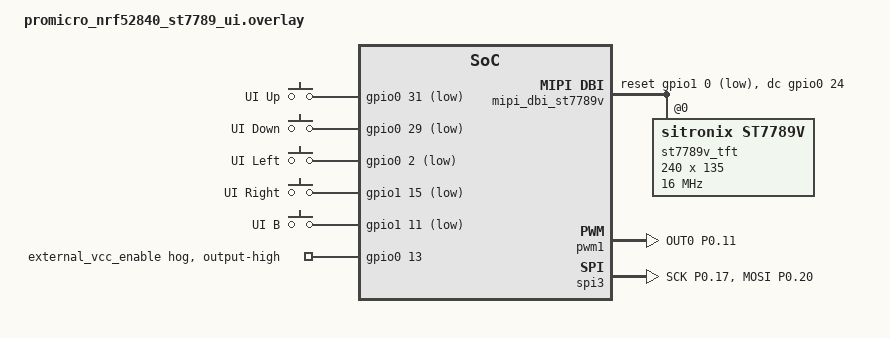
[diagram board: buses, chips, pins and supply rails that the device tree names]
// Copyright (c) 2026
// SPDX-License-Identifier: Apache-2.0

#include <zephyr/dt-bindings/gpio/gpio.h>
#include <zephyr/dt-bindings/input/input-event-codes.h>
#include <zephyr/dt-bindings/lvgl/lvgl.h>
#include <zephyr/dt-bindings/mipi_dbi/mipi_dbi.h>

&pinctrl {
	spi3_default: spi3_default {
		group1 {
			psels = <NRF_PSEL(SPIM_SCK, 0, 17)>,
				<NRF_PSEL(SPIM_MOSI, 0, 20)>;
		};
	};

	spi3_sleep: spi3_sleep {
		group1 {
			psels = <NRF_PSEL(SPIM_SCK, 0, 17)>,
				<NRF_PSEL(SPIM_MOSI, 0, 20)>;
			low-power-enable;
		};
	};

	pwm1_default: pwm1_default {
		group1 {
			psels = <NRF_PSEL(PWM_OUT0, 0, 11)>;
		};
	};

	pwm1_sleep: pwm1_sleep {
		group1 {
			psels = <NRF_PSEL(PWM_OUT0, 0, 11)>;
			low-power-enable;
		};
	};
};

/ {
	chosen {
		zephyr,display = &st7789v_tft;
	};

	aliases {
		ui-up = &button_up;
		ui-down = &button_down;
		ui-left = &button_left;
		ui-right = &button_right;
		ui-a = &button_a;
		ui-b = &button_b;
		ui-enter = &button_a;
		ui-back = &button_b;
		lcd-backlight = &lcd_backlight;
	};

	mipi_dbi_st7789v {
		compatible = "zephyr,mipi-dbi-spi";
		spi-dev = <&spi3>;
		dc-gpios = <&gpio0 24 GPIO_ACTIVE_HIGH>;
		reset-gpios = <&gpio1 0 GPIO_ACTIVE_LOW>;
		write-only;
		#address-cells = <1>;
		#size-cells = <0>;
		status = "okay";

		st7789v_tft: st7789v@0 {
			compatible = "sitronix,st7789v";
			reg = <0>;
			mipi-max-frequency = <16000000>;

			width = <240>;
			height = <135>;
			x-offset = <40>;
			y-offset = <53>;

			vcom = <0x19>;
			gctrl = <0x35>;
			vrhs = <0x12>;
			vdvs = <0x20>;
			mdac = <0x77>;
			gamma = <0x00>;
			colmod = <0x05>;
			lcm = <0x2c>;
			porch-param = [0c 0c 00 33 33];
			cmd2en-param = [5a 69 02 00];
			pwctrl1-param = [a4 a1];
			pvgam-param = [d0 04 0d 11 13 2b 3f 54 4c 18 0d 0b 1f 23];
			nvgam-param = [d0 04 0c 11 13 2c 3f 44 51 2f 1f 1f 20 23];
			ram-param = [00 f0];
			rgb-param = [40 02 14];
			mipi-mode = "MIPI_DBI_MODE_SPI_4WIRE";
			status = "okay";
		};
	};

	lvgl_keypad: slimenrf-lvgl-keypad {
		compatible = "zephyr,lvgl-keypad-input";
		input = <&buttons>;
		input-codes = <INPUT_KEY_UP INPUT_KEY_DOWN INPUT_KEY_LEFT INPUT_KEY_RIGHT INPUT_KEY_ENTER INPUT_KEY_ESC>;
		lvgl-codes = <LV_KEY_UP LV_KEY_DOWN LV_KEY_LEFT LV_KEY_RIGHT LV_KEY_ENTER LV_KEY_ESC>;
	};
};

&buttons {
	button_up: button_up {
		gpios = <&gpio0 31 (GPIO_PULL_UP | GPIO_ACTIVE_LOW)>;
		label = "UI Up";
		zephyr,code = <INPUT_KEY_UP>;
	};

	button_down: button_down {
		gpios = <&gpio0 29 (GPIO_PULL_UP | GPIO_ACTIVE_LOW)>;
		label = "UI Down";
		zephyr,code = <INPUT_KEY_DOWN>;
	};

	button_left: button_left {
		gpios = <&gpio0 2 (GPIO_PULL_UP | GPIO_ACTIVE_LOW)>;
		label = "UI Left";
		zephyr,code = <INPUT_KEY_LEFT>;
	};

	button_right: button_right {
		gpios = <&gpio1 15 (GPIO_PULL_UP | GPIO_ACTIVE_LOW)>;
		label = "UI Right";
		zephyr,code = <INPUT_KEY_RIGHT>;
	};

	button_b: button_b {
		gpios = <&gpio1 11 (GPIO_PULL_UP | GPIO_ACTIVE_LOW)>;
		label = "UI B";
		zephyr,code = <INPUT_KEY_ESC>;
	};
};

&gpio0 {
	external_vcc_enable: external_vcc_enable {
		gpio-hog;
		gpios = <13 GPIO_ACTIVE_HIGH>;
		output-high;
	};
};

&pwmleds {
	lcd_backlight: lcd_backlight {
		pwms = <&pwm1 0 PWM_MSEC(1) PWM_POLARITY_NORMAL>;
	};
};

&pwm1 {
	status = "okay";
	pinctrl-0 = <&pwm1_default>;
	pinctrl-1 = <&pwm1_sleep>;
	pinctrl-names = "default", "sleep";
};

&spi3 {
	compatible = "nordic,nrf-spim";
	status = "okay";
	cs-gpios = <&gpio0 22 GPIO_ACTIVE_LOW>;
	pinctrl-0 = <&spi3_default>;
	pinctrl-1 = <&spi3_sleep>;
	pinctrl-names = "default", "sleep";
};
